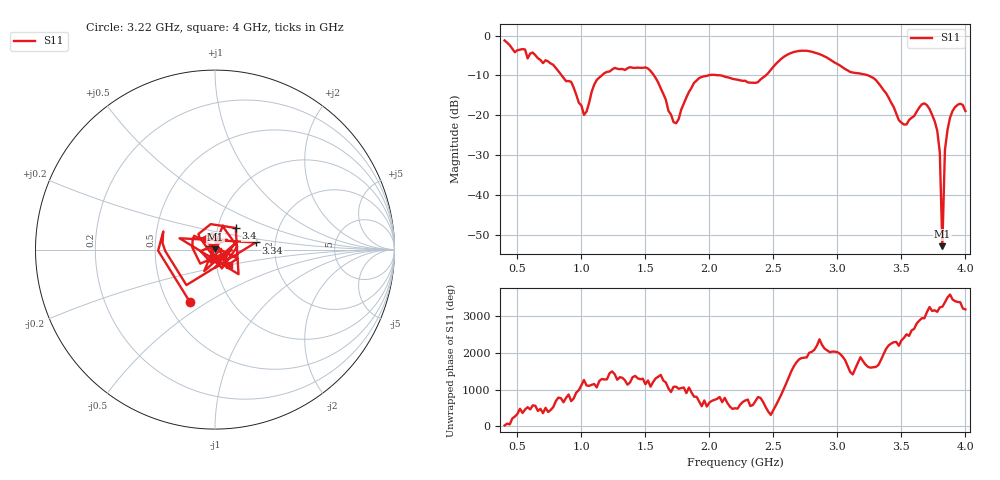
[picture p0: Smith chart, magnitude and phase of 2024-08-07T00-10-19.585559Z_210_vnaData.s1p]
!Created with skrf (http://scikit-rf.org).
# Hz S RI R 50.0
!freq ReS11 ImS11
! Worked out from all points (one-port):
!   181 points, 400 MHz to 4 GHz, reference 50 ohm
!   lowest |S11| = -52.9 dB at 3.82 GHz (marker M1), VSWR 1.00, Z = 50.2 + j0.0972 ohm
!   |S11| at or under -10 dB: 1.567 GHz to 1.989 GHz (422.7 MHz wide, 23.8 % of centre); 2.09 GHz to 2.441 GHz (350.6 MHz wide, 15.5 % of centre); 3.241 GHz to end of sweep (the widest 3 of 4)
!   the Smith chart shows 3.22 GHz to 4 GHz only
!   S11 on the Smith chart (normalised r, x): 3.22 GHz: 0.65, -0.42; 3.34 GHz: 1.58, +0.13; 3.4 GHz: 1.22, +0.30; 4 GHz: 1.15, -0.19
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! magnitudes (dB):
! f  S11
! 400 MHz  -1.2
! 860 MHz  -10.6
! 920 MHz  -11.6
! 1.02 GHz  -19.9
! 1.12 GHz  -11.1
! 1.3 GHz  -8.4
! 1.52 GHz  -8.2
! 1.6 GHz  -11.8
! 1.72 GHz  -21.7
! 1.76 GHz  -21.0
! 1.92 GHz  -10.7
! 2.2 GHz  -11.0
! 2.38 GHz  -11.7
! 2.66 GHz  -4.1
! 3.1 GHz  -9.1
! 3.22 GHz  -9.8
! 3.34 GHz  -12.7
! 3.4 GHz  -15.6
! 3.48 GHz  -21.2
! 3.56 GHz  -21.2
! 3.68 GHz  -17.0
! 3.78 GHz  -23.9
! 3.8 GHz  -29.3
! 3.82 GHz  -52.9
! 3.84 GHz  -28.8
! 3.86 GHz  -23.7
! 3.92 GHz  -17.9
! 4 GHz  -19.0
